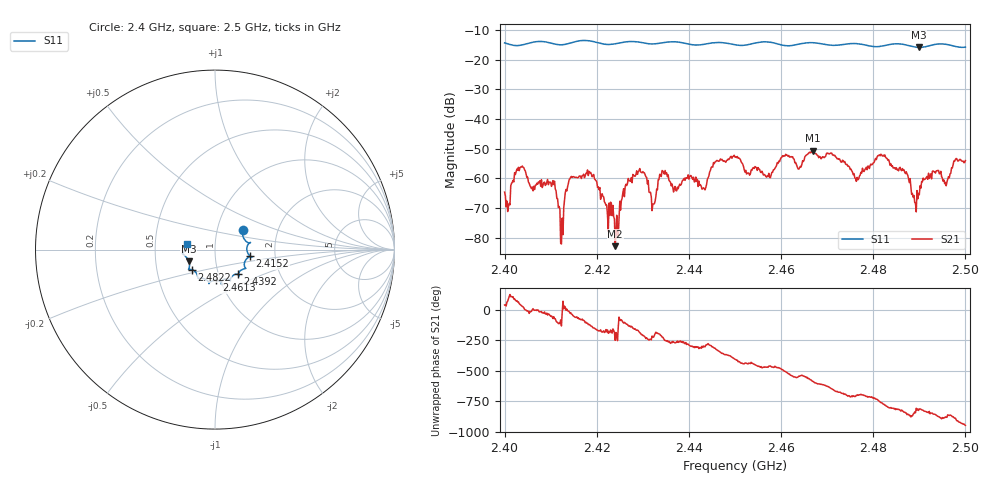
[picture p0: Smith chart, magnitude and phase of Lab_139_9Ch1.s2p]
# Hz S RI R 50
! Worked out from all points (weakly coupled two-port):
!   601 points, 2.4 GHz to 2.5 GHz, reference 50 ohm
!   highest |S21| = -50.69 dB at 2.4668 GHz (marker M1); lowest = -82.9 dB at 2.424 GHz (marker M2)
!   lowest |S11| = -15.9 dB at 2.4898 GHz (marker M3), VSWR 1.38, Z = 37 - j5.03 ohm
!   |S11| at or under -10 dB: start of sweep to end of sweep
!   S12 and S22 are empty: the file has one direction only
!   S11 on the Smith chart (normalised r, x): 2.4 GHz: 1.33, +0.31; 2.4152 GHz: 1.48, -0.11; 2.4392 GHz: 1.23, -0.35; 2.4613 GHz: 0.96, -0.34; 2.4822 GHz: 0.76, -0.17; 2.5 GHz: 0.72, +0.05
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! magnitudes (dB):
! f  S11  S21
! 2.4 GHz  -14.4  -64.7
! 2.4038 GHz  -15.1  -55.9
! 2.4105 GHz  -14.6  -60.8
! 2.4123 GHz  -15.0  -82.2
! 2.4152 GHz  -14.1  -59.7
! 2.4167 GHz  -13.6  -60.1
! 2.424 GHz  -14.7  -82.9
! 2.4283 GHz  -14.0  -59.3
! 2.4323 GHz  -14.7  -68.7
! 2.4333 GHz  -14.6  -60.5
! 2.4392 GHz  -14.5  -60.7
! 2.4433 GHz  -14.9  -63.5
! 2.45 GHz  -15.0  -52.9
! 2.4572 GHz  -14.1  -59.5
! 2.4613 GHz  -15.4  -52.2
! 2.4667 GHz  -14.3  -51.4
! 2.4668 GHz  -14.3  -50.7
! 2.4765 GHz  -14.7  -59.7
! 2.4822 GHz  -15.4  -52.3
! 2.4833 GHz  -15.0  -53.7
! 2.4898 GHz  -15.9  -65.1
! 2.5 GHz  -15.8  -54.1
